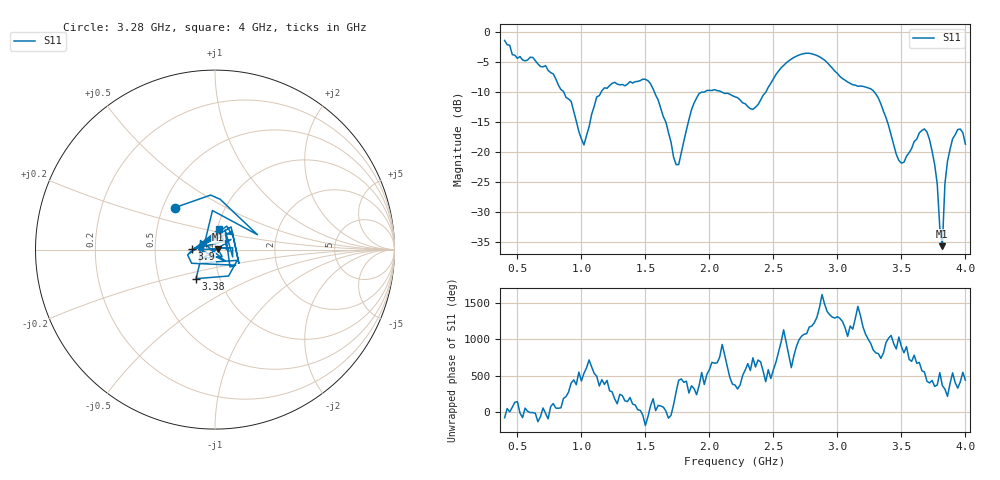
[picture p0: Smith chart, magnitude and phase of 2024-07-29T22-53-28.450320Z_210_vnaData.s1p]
!Created with skrf (http://scikit-rf.org).
# Hz S RI R 50.0
!freq ReS11 ImS11
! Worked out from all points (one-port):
!   181 points, 400 MHz to 4 GHz, reference 50 ohm
!   lowest |S11| = -35.7 dB at 3.82 GHz (marker M1), VSWR 1.03, Z = 51.7 + j0.15 ohm
!   |S11| at or under -10 dB: 1.57 GHz to 1.961 GHz (390.8 MHz wide, 22.1 % of centre); 2.096 GHz to 2.441 GHz (345.2 MHz wide, 15.2 % of centre); 3.288 GHz to end of sweep (the widest 3 of 4)
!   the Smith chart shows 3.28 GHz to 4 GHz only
!   S11 on the Smith chart (normalised r, x): 3.28 GHz: 0.57, +0.30; 3.38 GHz: 0.77, -0.26; 3.9 GHz: 0.77, +0.00; 4 GHz: 1.02, +0.23
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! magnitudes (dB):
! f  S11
! 400 MHz  -1.4
! 500 MHz  -4.4
! 720 MHz  -5.6
! 860 MHz  -9.9
! 920 MHz  -11.6
! 1.02 GHz  -18.8
! 1.12 GHz  -10.8
! 1.3 GHz  -8.8
! 1.54 GHz  -8.6
! 1.76 GHz  -22.1
! 1.86 GHz  -13.0
! 1.92 GHz  -10.2
! 2.2 GHz  -10.8
! 2.34 GHz  -12.9
! 2.66 GHz  -4.2
! 2.84 GHz  -3.9
! 3.1 GHz  -8.6
! 3.28 GHz  -9.8
! 3.38 GHz  -14.3
! 3.48 GHz  -21.4
! 3.56 GHz  -20.1
! 3.7 GHz  -16.7
! 3.76 GHz  -22.1
! 3.82 GHz  -35.7
! 3.84 GHz  -25.3
! 3.9 GHz  -17.8
! 3.96 GHz  -16.2
! 4 GHz  -18.7
